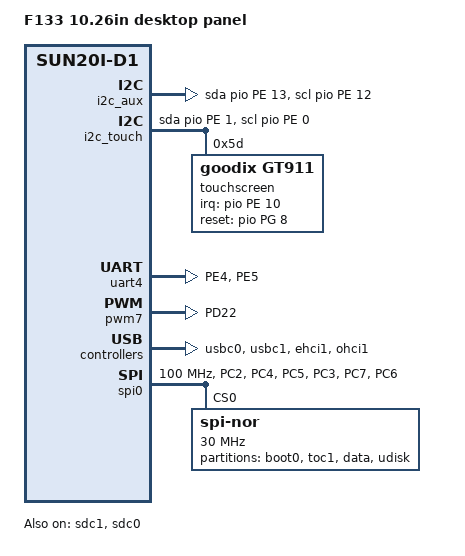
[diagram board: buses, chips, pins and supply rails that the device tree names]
// SPDX-License-Identifier: GPL-2.0
/*
 * F133-B (D1s) 10.26" masaustu panel karti - TINA OpenSBI zinciri varyanti (kernel 0x40000000, OpenSBI 0x41FC0000).
 * board.dts'ten uretildi (alt 2 MB no-map kaldirildi).
 * Kaynak degerler: outputs\linux-ram-test\melis-config.fex (script.bin dokumu).
 * Taban: Tina linux-5.4 sun20iw1p1.dtsi + F133 evb1 board.dts bicimi.
 *
 * Adim 1 kurallari: SPI NOR KAPALI (flash'a hicbir yol yok), DVFS yok.
 */

/dts-v1/;

#include "sun20iw1p1.dtsi"

/ {
	model = "F133 10.26in desktop panel";
	/* "allwinner,sun20i-d1": upstream OpenSBI'nin D1 platform kodunu secmesi icin */
	compatible = "allwinner,d1s", "allwinner,sun20i-d1", "arm,sun20iw1p1", "allwinner,sun20iw1p1";

	chosen {
		/* initramfs kernel'e gomulu; Tina dtsi'deki harici initrd adresleri silinir */
		/delete-property/ linux,initrd-start;
		/delete-property/ linux,initrd-end;
		/* 11.10.2026 VeLinux KOLE: ekrana cekirdek yazisi dusmesin (quiet loglevel=1, imlec gizli); dmesg yine tam.
		 * Eski: "clk_ignore_unused ignore_loglevel fbcon=rotate:1 console=tty0 loglevel=8 rdinit=/init cma=12M" */
		bootargs = "clk_ignore_unused fbcon=rotate:1 console=tty0 quiet loglevel=1 vt.global_cursor_default=0 consoleblank=0 rdinit=/init cma=12M";
		stdout-path = "serial4:115200n8";
	};

	/*
	 * 0x40000000-0x401FFFFF: OpenSBI (0x40000000).
	 * Linux 5.4 kernel yukleme adresinin (0x40200000) altini memblock'tan cikarmiyor; burada no-map ile ayrilir.
	 */
	reserved-memory {
		#address-cells = <2>;
		#size-cells = <2>;
		ranges;


		/* OpenSBI hata ayiklama RAM gunlugu (03_patch_opensbi_debug_v2.py) */
		f133_ramlog@43c00000 {
			reg = <0x0 0x43c00000 0x0 0x100000>;
			no-map;
		};
	};
};

/*
 * Upstream OpenSBI icin: Tina dtsi'de CLINT yok, PLIC yalniz "riscv,plic0".
 * Linux 5.4 bu CLINT dugumunu kullanmaz (zamanlayici SBI uzerinden), PLIC'i "riscv,plic0" ile eslesir.
 */
&soc {
	clint: timer@14000000 {
		compatible = "allwinner,sun20i-d1-clint", "thead,c900-clint";
		reg = <0x0 0x14000000 0x0 0xc000>;
		interrupts-extended = <&CPU0_intc 3>, <&CPU0_intc 7>;
	};
};

&plic0 {
	compatible = "thead,c900-plic", "riscv,plic0";
};

/* 64 MB DDR2 (xfel alias testiyle dogrulandi) */
&{/memory@40000000} {
	reg = <0x0 0x40000000 0x0 0x4000000>;
};

/* DVFS yok: PWM regulatoru tanimsiz, OPP tablosu kullanilmaz */
&CPU0 {
	/delete-property/ operating-points-v2;
};

&pio {
	/* 11.10.2026: UART4 = arac MCU'su (Bluetrum AB5301, BT + amfi) PE4 TX / PE5 RX mux 3, 115200
	 * (pin-yokla: ikisi de surulu; pinizle: PE5'te "02 81 D4" cercevesi). Eski: PB2 hata ayiklama TX'i (kullanilmiyordu).
	 * Protokol: docs/mcu-bt-protokol.md. UYARI: A4/A0/B7/C3/BA el sikismasi kartin gucunu kestirdi; yalniz D4 (AT#) gonder. */
	uart4_pins_a: uart4_pins@0 {
		pins = "PE4", "PE5";
		function = "uart4";
		drive-strength = <10>;
		bias-pull-up;
	};
	uart4_pins_b: uart4_pins@1 {
		pins = "PE4", "PE5";
		function = "gpio_in";
	};

	/* fex [uart1] PG12/PG13 ve [uart3] PB6/PB7 (mux 7): Melis'te tanimli, karsi taraf bilinmiyor
	 * (Bluetrum BT yongasi / arac MCU adayi). 11.10.2026: dinleme icin acildi. */
	uart1_pins_a: uart1_pins@0 {
		pins = "PG12", "PG13";
		function = "uart1";
		drive-strength = <10>;
		bias-pull-up;
	};
	uart1_pins_b: uart1_pins@1 {
		pins = "PG12", "PG13";
		function = "gpio_in";
	};
	uart3_pins_a: uart3_pins@0 {
		pins = "PB6", "PB7";
		function = "uart3";
		drive-strength = <10>;
		bias-pull-up;
	};
	uart3_pins_b: uart3_pins@1 {
		pins = "PB6", "PB7";
		function = "gpio_in";
	};

	twi1_pins_a: twi1@0 {
		pins = "PE0", "PE1";		/* SCL, SDA; dis pull-up var */
		function = "twi1";
		drive-strength = <10>;
	};
	twi1_pins_b: twi1@1 {
		pins = "PE0", "PE1";
		function = "gpio_in";
	};

	sdc1_pins_a: sdc1@0 {
		pins = "PG0", "PG1", "PG2", "PG3", "PG4", "PG5";
		function = "sdc1";
		drive-strength = <30>;
		bias-pull-up;
	};
	sdc1_pins_b: sdc1@1 {
		pins = "PG0", "PG1", "PG2", "PG3", "PG4", "PG5";
		function = "gpio_in";
	};

	/* SPI NOR (EN25QH128): boot0 basligindaki storage_gpio ile ayni, PC2..PC7 mux 2 */
	spi0_pins_a: spi0@0 {
		pins = "PC2", "PC4", "PC5";	/* clk, mosi, miso */
		function = "spi0";
		drive-strength = <20>;
	};
	spi0_pins_b: spi0@1 {
		pins = "PC3", "PC7", "PC6";	/* cs, hold, wp */
		function = "spi0";
		drive-strength = <20>;
		bias-pull-up;
	};
	spi0_pins_c: spi0@2 {
		pins = "PC2", "PC3", "PC4", "PC5", "PC6", "PC7";
		function = "gpio_in";
	};

	/* sdc0 = SD kart yuvasi (fex [sdc0], algilama PF6) */
	sdc0_pins_a: sdc0@0 {
		pins = "PF0", "PF1", "PF2", "PF3", "PF4", "PF5";
		function = "sdc0";
		drive-strength = <30>;
		bias-pull-up;
		power-source = <3300>;
	};
	sdc0_pins_b: sdc0@1 {
		pins = "PF0", "PF1", "PF2", "PF3", "PF4", "PF5";
		function = "sdc0";
		drive-strength = <30>;
		bias-pull-up;
		power-source = <1800>;
	};
	sdc0_pins_c: sdc0@2 {
		pins = "PF0", "PF1", "PF2", "PF3", "PF4", "PF5";
		function = "gpio_in";
	};
	sdc0_pins_d: sdc0@3 {
		pins = "PF2", "PF4";
		function = "uart0";
		drive-strength = <10>;
		bias-pull-up;
	};
	sdc0_pins_e: sdc0@4 {
		pins = "PF0", "PF1", "PF3", "PF5";
		function = "jtag";
		drive-strength = <10>;
		bias-pull-up;
	};

	/* sdc2 kullanilmiyor (PC2-PC7 = SPI NOR), yalniz dtsi referanslari icin */
	sdc2_pins_a: sdc2@0 {
		pins = "PC2", "PC3", "PC4", "PC5", "PC6", "PC7";
		function = "sdc2";
		drive-strength = <30>;
		bias-pull-up;
	};
	sdc2_pins_b: sdc2@1 {
		pins = "PC2", "PC3", "PC4", "PC5", "PC6", "PC7";
		function = "gpio_in";
	};

	pwm7_pin_a: pwm7@0 {
		pins = "PD22";
		function = "pwm7";
		drive-strength = <10>;
		bias-pull-up;
	};
	pwm7_pin_b: pwm7@1 {
		pins = "PD22";
		function = "gpio_in";
	};
};

&uart0 {
	status = "disabled";
};

&uart1 {
	status = "disabled";	/* 11.10.2026: pin-yokla ile bos (bagli degil) */
};

&uart3 {
	status = "disabled";	/* 11.10.2026: pin-yokla ile bos (bagli degil) */
};

&uart4 {
	pinctrl-names = "default", "sleep";
	pinctrl-0 = <&uart4_pins_a>;
	pinctrl-1 = <&uart4_pins_b>;
	status = "okay";
};

/* ---- Ekran: sunxi disp2 + MIPI-DSI ---- */
&disp {
	disp_init_enable         = <1>;
	disp_mode                = <0>;

	screen0_output_type      = <1>;	/* LCD */
	screen0_output_mode      = <4>;

	screen1_output_type      = <0>;
	screen1_output_mode      = <4>;

	dev0_output_type         = <1>;
	dev0_output_mode         = <4>;
	dev0_screen_id           = <0>;
	dev0_do_hpd              = <0>;

	def_output_dev           = <0>;

	disp_rotation_used       = <0>;	/* 600x1600 dikey; yatay cevirme kullanici alaninda */
	fb0_format               = <0>;	/* ARGB8888 */
	fb0_buffer_num           = <1>;	/* tek tampon: 600*1600*4 = 3.84 MB CMA */
	fb1_format               = <0>;
	fb1_width                = <0>;
	fb1_height               = <0>;
	chn_cfg_mode             = <1>;

	disp_para_zone           = <1>;
};

&lcd0 {
	lcd_used               = <1>;
	lcd_driver_name        = "he0801a068";
	lcd_backlight          = <50>;
	lcd_if                 = <4>;	/* DSI */
	lcd_x                  = <600>;
	lcd_y                  = <1600>;
	lcd_width              = <150>;
	lcd_height             = <94>;
	lcd_dclk_freq          = <60>;

	lcd_pwm_used           = <1>;
	lcd_pwm_ch             = <7>;
	lcd_pwm_freq           = <50000>;
	lcd_pwm_pol            = <1>;
	lcd_pwm_max_limit      = <255>;

	lcd_hbp                = <58>;
	lcd_ht                 = <724>;
	lcd_hspw               = <8>;
	lcd_vbp                = <16>;
	lcd_vt                 = <1636>;
	lcd_vspw               = <4>;

	lcd_dsi_if             = <0>;	/* video mode */
	lcd_dsi_lane           = <4>;
	lcd_dsi_format         = <0>;
	lcd_dsi_te             = <0>;
	lcd_frm                = <0>;
	lcd_io_phase           = <0x0000>;
	lcd_gamma_en           = <0>;
	lcd_bright_curve_en    = <0>;
	lcd_cmap_en            = <0>;
	lcd_rb_swap            = <0>;
	deu_mode               = <0>;
	lcdgamma4iep           = <22>;
	smart_color            = <90>;

	lcd_bl_en              = <&pio PG 15 GPIO_ACTIVE_HIGH>;
	lcd_gpio_0             = <&pio PE 9 GPIO_ACTIVE_HIGH>;	/* lcd_reset */
	lcd_gpio_1             = <&pio PD 19 GPIO_ACTIVE_HIGH>;	/* lcd_power */
	lcd_gpio_2             = <&pio PB 3 GPIO_ACTIVE_HIGH>;	/* lcd_avdd */

	pinctrl-0 = <&dsi4lane_pins_a>;
	pinctrl-1 = <&dsi4lane_pins_b>;
};

/* Arka isik PWM7 = PD22 */
&pwm7 {
	pinctrl-names = "active", "sleep";
	pinctrl-0 = <&pwm7_pin_a>;
	pinctrl-1 = <&pwm7_pin_b>;
	status = "okay";
};

/* ---- Dokunmatik: Goodix GT913 ----
 * 24. deneme: Tina TWI1 denetleyicisi PE0/PE1'de "engine-mode: xfer timeout" veriyor (NACK degil, hat calismiyor).
 * FEL'de ayni pinler GPIO bit-bang ile 0x14'te yanit vermisti -> i2c-gpio kullanilir, TWI1 kapali.
 */
&twi1 {
	status = "disabled";
};

/ {
	/* 11.10.2026: TWI2 (PE12 SCL / PE13 SDA, kartta dis pull-up) donanim kesfi icin. Melis fex: MFi 2.0C 0x10/0x11,
	 * kamera cozucu XS9950 (AHD/CVBS, sensor0_twi_cci_id=2, adres 0x60 8-bit = 0x30). Tina TWI "xfer timeout"
	 * verdigi icin i2c-gpio. Linux'ta i2c-1 olarak gorunur (i2cdetect -y 1). */
	i2c_aux: i2c-gpio-aux {
		compatible = "i2c-gpio";
		sda-gpios = <&pio PE 13 (GPIO_ACTIVE_HIGH | GPIO_OPEN_DRAIN)>;
		scl-gpios = <&pio PE 12 (GPIO_ACTIVE_HIGH | GPIO_OPEN_DRAIN)>;
		i2c-gpio,delay-us = <5>;
		#address-cells = <1>;
		#size-cells = <0>;
	};

	i2c_touch: i2c-gpio-touch {
		compatible = "i2c-gpio";
		sda-gpios = <&pio PE 1 (GPIO_ACTIVE_HIGH | GPIO_OPEN_DRAIN)>;
		scl-gpios = <&pio PE 0 (GPIO_ACTIVE_HIGH | GPIO_OPEN_DRAIN)>;
		i2c-gpio,delay-us = <5>;	/* ~100 kHz */
		#address-cells = <1>;
		#size-cells = <0>;

		/* 11.10.2026 soguk acilis (guc kesip verme): GT913 0x5d'de aciliyor, 0x14 yalniz Melis'ten kalan sicak
		 * durumdu (onbellek acilinca prob erken -> "i2c test failed -6"). Surucu reset'te INT=dusuk -> 0x5d. */
		touchscreen@5d {
			compatible = "goodix,gt911";
			reg = <0x5d>;
			interrupt-parent = <&pio>;
			interrupts = <PE 10 IRQ_TYPE_EDGE_FALLING>;
			irq-gpios = <&pio PE 10 GPIO_ACTIVE_HIGH>;
			reset-gpios = <&pio PG 8 GPIO_ACTIVE_HIGH>;
			/* 11.10.2026 olcum (yatay tutus): yalniz inverted-x ile sol ust (13,593), sag alt (1018,11) ->
			 * Y ters. Ikisiyle: sol ust (0,0), sag alt (1023,599). Cip config'i 1024x600; 1600x600'e
			 * olcekleme uygulamada (LVGL evdev) yapilir. */
			touchscreen-inverted-x;
			touchscreen-inverted-y;
		};
	};
};

/* ---- Wi-Fi: SV6256P @ SDIO sdc1 (ssv6x5x, kernel disi modul) ---- */
&sdc1 {
	bus-width = <4>;
	no-mmc;
	no-sd;
	non-removable;
	cap-sd-highspeed;
	cap-sdio-irq;
	keep-power-in-suspend;
	ignore-pm-notify;
	max-frequency = <50000000>;
	status = "okay";
};

/* ---- SD kart yuvasi: kalici depolama (11.10.2026). FEL artik yazilimdan (fel-gir, RTC bayragi); karttaki FEL
 * anahtari silinir -> BROM SD'de eGON bulamayip SPI NOR'a gecer. Kart FAT32, init /mnt/sd'ye okuma-yazma baglar. ---- */
&sdc0 {
	bus-width = <4>;
	cd-gpios = <&pio PF 6 (GPIO_ACTIVE_LOW | GPIO_PULL_UP)>;
	cd-used-24M;
	cap-sd-highspeed;
	no-sdio;
	no-mmc;
	max-frequency = <50000000>;
	ctl-spec-caps = <0x8>;
	/* 7. denemede kapatilmisti (BROM FEL kartini okuyamaz suphesi); FEL karti artik gerekmiyor */
	status = "okay";
};

&sdc2 {
	status = "disabled";
};

/* ---- USB0: aygit modu (FEL kablosu uzerinden seri konsol + ag) ---- */
&usbc0 {
	usb_port_type = <0>;	/* 0: device */
	usb_detect_type = <0>;	/* algilama yok */
	/delete-property/ usb_id_gpio;
	/delete-property/ usb_det_vbus_gpio;
	status = "okay";
};

/* ---- Adim 1: SPI NOR'a erisim YOK ---- */
/* 11.10.2026: Linux flash'tan aciliyor. SPI NOR yalniz kalici ayarlar icin acildi:
 * boot0 ve toc1 bolumleri SALT OKUNUR; yazilabilir tek bolum "data" (JFFS2). UDISK (eski Melis FAT) dokunulmaz. */
&spi0 {
	clock-frequency = <100000000>;
	pinctrl-0 = <&spi0_pins_a &spi0_pins_b>;
	pinctrl-1 = <&spi0_pins_c>;
	pinctrl-names = "default", "sleep";
	spi_slave_mode = <0>;
	spi0_cs_number = <1>;
	spi0_cs_bitmap = <1>;
	status = "okay";

	spi-nor@0 {
		compatible = "jedec,spi-nor";
		reg = <0x0>;
		spi-max-frequency = <30000000>;
		spi-rx-bus-width = <0x01>;
		spi-tx-bus-width = <0x01>;
		status = "okay";

		partitions {
			compatible = "fixed-partitions";
			#address-cells = <1>;
			#size-cells = <1>;
			boot0@0 {
				label = "boot0";
				reg = <0x0 0x10000>;
				read-only;
			};
			toc1@10000 {
				label = "toc1";
				reg = <0x10000 0xBF0000>;
				read-only;
			};
			data@c00000 {
				label = "data";
				reg = <0xC00000 0x3E0000>;
			};
			udisk@fe0000 {
				label = "udisk";
				reg = <0xFE0000 0x20000>;
				read-only;
			};
		};
	};
};

/*
 * ---- F133 (D1s) icin kapatilan D1 bloklari ----
 * sun20iw1p1.dtsi D1 icin; F133'te HDMI, EMAC/GMAC, HiFi4 DSP, TV decoder yok ya da kartta kullanilmiyor.
 * Var olmayan bloga erisim veri yolunu kilitleyebilir (6-13. denemelerde SoC tamamen kilitleniyordu).
 * Kamera (vin/csi/isp), deinterlace, LEDC, LRADC tus, IR, spdif ve HDMI ses de simdilik gereksiz.
 */
&hdmi { status = "disabled"; };
&hdmiaudio { status = "disabled"; };
&gmac0 { status = "disabled"; };
&sunxi_rpaf_dsp0 { status = "disabled"; };
&tvd { status = "disabled"; };
&tvd0 { status = "disabled"; };
&di { status = "disabled"; };
&vind0 { status = "disabled"; };
&csi0 { status = "disabled"; };
&isp0 { status = "disabled"; };
&isp1 { status = "disabled"; };
&scaler0 { status = "disabled"; };
&scaler1 { status = "disabled"; };
&sensor0 { status = "disabled"; };
&sensor1 { status = "disabled"; };
&vinc0 { status = "disabled"; };
&vinc1 { status = "disabled"; };
&ledc { status = "disabled"; };
&keyboard0 { status = "disabled"; };
&s_cir0 { status = "disabled"; };
&ir1 { status = "disabled"; };
&soundspdif { status = "disabled"; };

/*
 * 18. deneme: kilitlenme PLIC baslatmasinin hemen ardindan (~init_IRQ/time_init). Tina'nin sun4i zamanlayicisi
 * watchdog ile ayni blogu (0x02050000) kullaniyor ve SBI zamanlayicisindan yuksek oncelikli. Kapatilir;
 * Linux tikleri OpenSBI'nin SBI zamanlayicisindan alir.
 */
&soc_timer0 {
	status = "disabled";
};

/* 27. deneme: USB0 aygit modunda baglanti yok. USB0 PHY'si OTG'ye yonlendirilmeli (0x04100420=1, FEL'deki deger);
 * USB0'in ana makine tarafi (EHCI0/OHCI0) kapali. */
&ehci0 { status = "disabled"; };
&ohci0 { status = "disabled"; };

/* 11.10.2026: SV6256P SDIO'da numaralaniyor ama ic yazmac okumalari hep 0 (CMD53). Melis fex'te
 * [mmc1_para] sdc_used=0, [usbc1] usb_used=1 port_type=1 (host), wifi_usbc_id=1 -> Wi-Fi USB1 uzerinde olabilir. */
&usbc1 {
	device_type = "usbc1";
	usb_port_type = <0x01>;
	usb_detect_type = <0x0>;
	usb_regulator_io = "nocare";
	usb_wakeup_suspend = <0>;
	status = "okay";
};
&ehci1 { /delete-property/ drvvbus-supply; status = "okay"; };
&ohci1 { /delete-property/ drvvbus-supply; status = "okay"; };

/* 34. deneme: ~9. sn'den sonra hicbir harici kesme islenmiyor (PLIC'te 22/45/57/108 bekliyor).
 * O aralikta baslayan RTC (kaynak 160) ve cedar VE suruculeri kapatilir (ikisi de simdilik gereksiz). */
&rtc { status = "disabled"; };
&ve { status = "disabled"; };
